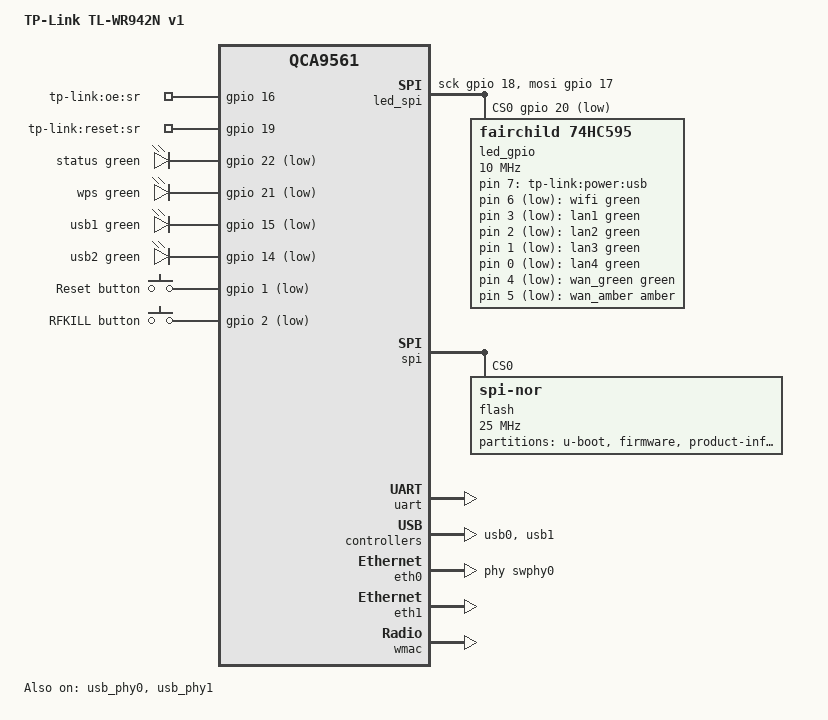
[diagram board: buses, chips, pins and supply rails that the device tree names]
// SPDX-License-Identifier: GPL-2.0-or-later OR MIT

#include "qca956x.dtsi"

#include <dt-bindings/gpio/gpio.h>
#include <dt-bindings/input/input.h>
#include <dt-bindings/leds/common.h>

/ {
	compatible = "tplink,tl-wr942n-v1", "qca,qca9561";
	model = "TP-Link TL-WR942N v1";

	aliases {
		led-boot = &status;
		led-failsafe = &status;
		led-running = &status;
		led-upgrade = &status;
		label-mac-device = &wmac;
	};

	led_spi {
		compatible = "spi-gpio";
		#address-cells = <1>;
		#size-cells = <0>;

		sck-gpios = <&gpio 18 GPIO_ACTIVE_HIGH>;	// 74HC595 SRCLK
		mosi-gpios = <&gpio 17 GPIO_ACTIVE_HIGH>;	// 74HC595 SER
		cs-gpios = <&gpio 20 GPIO_ACTIVE_LOW>;	// 74HC595 RCLK
		num-chipselects = <1>;

		led_gpio: led_gpio@0 {
			compatible = "fairchild,74hc595";
			reg = <0>;
			gpio-controller;
			#gpio-cells = <2>;
			registers-number = <1>;
			spi-max-frequency = <10000000>;
		};
	};

	gpio-export {
		compatible = "gpio-export";

		gpio_shift_register_hub_reset {
			gpio-export,name = "tp-link:power:usb";
			gpio-export,output = <1>;
			gpios = <&led_gpio 7 GPIO_ACTIVE_HIGH>;
		};

		gpio_shift_register_oe {
			gpio-export,name = "tp-link:oe:sr";
			gpio-export,output = <0>;
			gpios = <&gpio 16 GPIO_ACTIVE_HIGH>;
		};

		gpio_shift_register_reset {
			gpio-export,name = "tp-link:reset:sr";
			gpio-export,output = <1>;
			gpios = <&gpio 19 GPIO_ACTIVE_HIGH>;
		};
	};

	leds {
		compatible = "gpio-leds";

		status: status_led {
			color = <LED_COLOR_ID_GREEN>;
			function = LED_FUNCTION_STATUS;
			gpios = <&gpio 22 GPIO_ACTIVE_LOW>;
			linux,default-trigger = "heartbeat";
		};

		wifi {
			color = <LED_COLOR_ID_GREEN>;
			function = LED_FUNCTION_WLAN;
			gpios = <&led_gpio 6 GPIO_ACTIVE_LOW>;
			linux,default-trigger = "phy0tpt";
		};

		lan1 {
			color = <LED_COLOR_ID_GREEN>;
			function = LED_FUNCTION_LAN;
			function-enumerator = <1>;
			gpios = <&led_gpio 3 GPIO_ACTIVE_LOW>;
		};

		lan2 {
			color = <LED_COLOR_ID_GREEN>;
			function = LED_FUNCTION_LAN;
			function-enumerator = <2>;
			gpios = <&led_gpio 2 GPIO_ACTIVE_LOW>;
		};

		lan3 {
			color = <LED_COLOR_ID_GREEN>;
			function = LED_FUNCTION_LAN;
			function-enumerator = <3>;
			gpios = <&led_gpio 1 GPIO_ACTIVE_LOW>;
		};

		lan4 {
			color = <LED_COLOR_ID_GREEN>;
			function = LED_FUNCTION_LAN;
			function-enumerator = <4>;
			gpios = <&led_gpio 0 GPIO_ACTIVE_LOW>;
		};

		wan_green {
			color = <LED_COLOR_ID_GREEN>;
			function = LED_FUNCTION_WAN;
			gpios = <&led_gpio 4 GPIO_ACTIVE_LOW>;
		};

		wan_amber {
			color = <LED_COLOR_ID_AMBER>;
			function = LED_FUNCTION_WAN;
			gpios = <&led_gpio 5 GPIO_ACTIVE_LOW>;
		};

		wps {
			color = <LED_COLOR_ID_GREEN>;
			function = LED_FUNCTION_WPS;
			gpios = <&gpio 21 GPIO_ACTIVE_LOW>;
		};

		usb1 {
			color = <LED_COLOR_ID_GREEN>;
			function = LED_FUNCTION_USB;
			function-enumerator = <1>;
			gpios = <&gpio 15 GPIO_ACTIVE_LOW>;
		};

		usb2 {
			color = <LED_COLOR_ID_GREEN>;
			function = LED_FUNCTION_USB;
			function-enumerator = <2>;
			gpios = <&gpio 14 GPIO_ACTIVE_LOW>;
		};
	};

	keys {
		compatible = "gpio-keys";

		reset {
			label = "Reset button";
			linux,code = <KEY_RESTART>;
			gpios = <&gpio 1 GPIO_ACTIVE_LOW>;
			debounce-interval = <60>;
		};

		rfkill {
			label = "RFKILL button";
			linux,code = <KEY_RFKILL>;
			gpios = <&gpio 2 GPIO_ACTIVE_LOW>;
			debounce-interval = <60>;
		};
	};
};

&spi {
	status = "okay";

	flash@0 {
		compatible = "jedec,spi-nor";
		reg = <0>;
		spi-max-frequency = <25000000>;

		partitions {
			compatible = "fixed-partitions";
			#address-cells = <1>;
			#size-cells = <1>;

			partition@0 {
				label = "u-boot";
				reg = <0x000000 0x020000>;
				read-only;
			};

			partition@20000 {
				compatible = "denx,uimage";
				label = "firmware";
				reg = <0x020000 0xe20000>;
			};

			product_info: partition@e40000 {
				label = "product-info";
				reg = <0xe40000 0x010000>;
				read-only;

				nvmem-layout {
					compatible = "fixed-layout";
					#address-cells = <1>;
					#size-cells = <1>;

					macaddr_product_info: macaddr@c {
						compatible = "mac-base";
						reg = <0xc 0x11>;
						#nvmem-cell-cells = <1>;
					};
				};
			};

			partition@e50000 {
				label = "partition-table";
				reg = <0xe50000 0x010000>;
				read-only;
			};

			partition@e60000 {
				label = "oem-config";
				reg = <0xe60000 0x040000>;
				read-only;
			};

			partition@ea0000 {
				label = "oem-vars";
				reg = <0xea0000 0x150000>;
				read-only;
			};

			art: partition@ff0000 {
				label = "art";
				reg = <0xff0000 0x010000>;
				read-only;

				nvmem-layout {
					compatible = "fixed-layout";
					#address-cells = <1>;
					#size-cells = <1>;

					cal_art_1000: calibration@1000 {
						reg = <0x1000 0x440>;
					};
				};
			};
		};
	};
};

&uart {
	status = "okay";
};

&usb_phy0 {
	status = "okay";
};

&usb0 {
	status = "okay";
};

&usb_phy1 {
	status = "okay";
};

&usb1 {
	status = "okay";
};

&eth0 {
	nvmem-cells = <&macaddr_product_info 1>;
	nvmem-cell-names = "mac-address";
	status = "okay";
	phy-handle = <&swphy0>;

	gmac-config {
		device = <&gmac>;

		switch-phy-addr-swap = <1>;
		switch-phy-swap = <1>;
	};
};

&eth1 {
	nvmem-cells = <&macaddr_product_info 0>;
	nvmem-cell-names = "mac-address";
	status = "okay";
};

&wmac {
	status = "okay";
	nvmem-cells = <&macaddr_product_info 0>, <&cal_art_1000>;
	nvmem-cell-names = "mac-address", "calibration";
};
